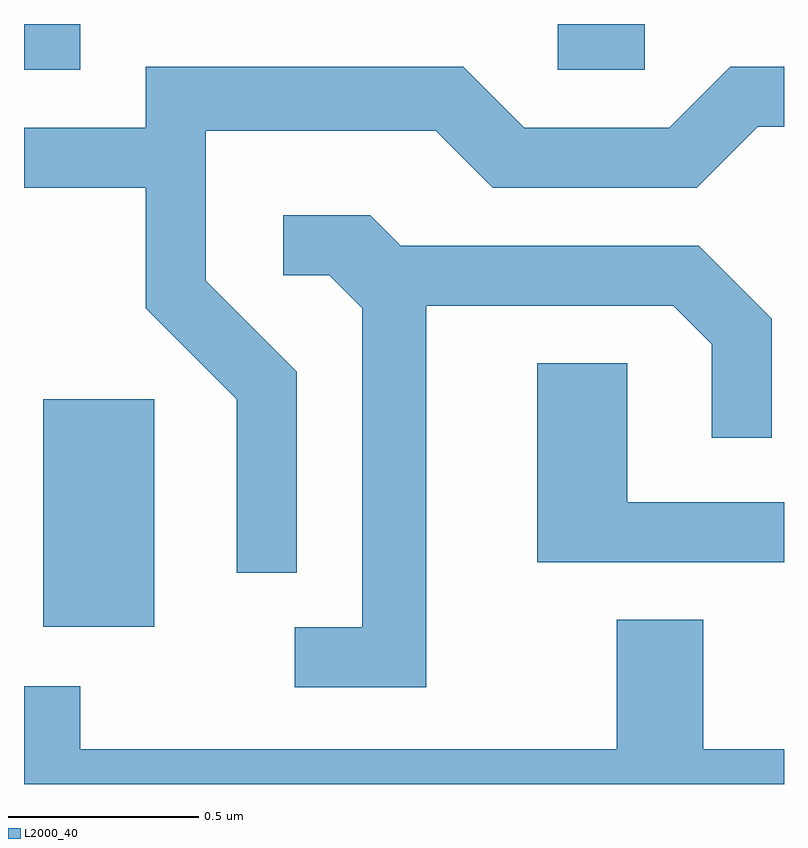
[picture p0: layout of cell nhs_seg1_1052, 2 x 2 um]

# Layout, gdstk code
import gdstk
lib = gdstk.Library(unit=1e-6, precision=1e-09)
def R(c, l, rs):  # rectangles x0, y0, x1, y1
    for r in rs: c.add(gdstk.rectangle(r[:2], r[2:], *l))
def P(c, l, *ps):  # polygons
    for p in ps: c.add(gdstk.Polygon(p, *l))
L2000_40 = (2000, 40)

nhs_seg1_1052 = lib.new_cell('nhs_seg1_1052')
R(nhs_seg1_1052, L2000_40, [(192.661,940.126,192.954,940.724), (192.611,941.591,192.759,941.712), (194.016,941.591,194.244,941.712)])
P(nhs_seg1_1052, L2000_40, [(193.329,940.797),(193.089,941.037),(193.089,941.431),(193.694,941.431),(193.844,941.281),(194.382,941.281),(194.542,941.441),(194.611,941.441),(194.611,941.599),(194.469,941.599),(194.309,941.439),(193.927,941.439),(193.767,941.599),(192.931,941.599),(192.931,941.439),(192.611,941.439),(192.611,941.281),(192.931,941.281),(192.931,940.964),(193.171,940.724),(193.171,940.268),(193.329,940.268)],
  [(193.669,940.971),(194.319,940.971),(194.421,940.869),(194.421,940.623),(194.579,940.623),(194.579,940.937),(194.387,941.129),(193.602,941.129),(193.522,941.209),(193.293,941.209),(193.293,941.051),(193.414,941.051),(193.501,940.964),(193.501,940.124),(193.323,940.124),(193.323,939.966),(193.669,939.966)],
  [(194.611,940.454),(194.199,940.454),(194.199,940.819),(193.961,940.819),(193.961,940.296),(194.611,940.296)],
  [(194.611,939.804),(194.399,939.804),(194.399,940.144),(194.171,940.144),(194.171,939.804),(192.759,939.804),(192.759,939.969),(192.611,939.969),(192.611,939.712),(194.611,939.712)])

lib.write_gds('nhs_seg1_1052.gds')
